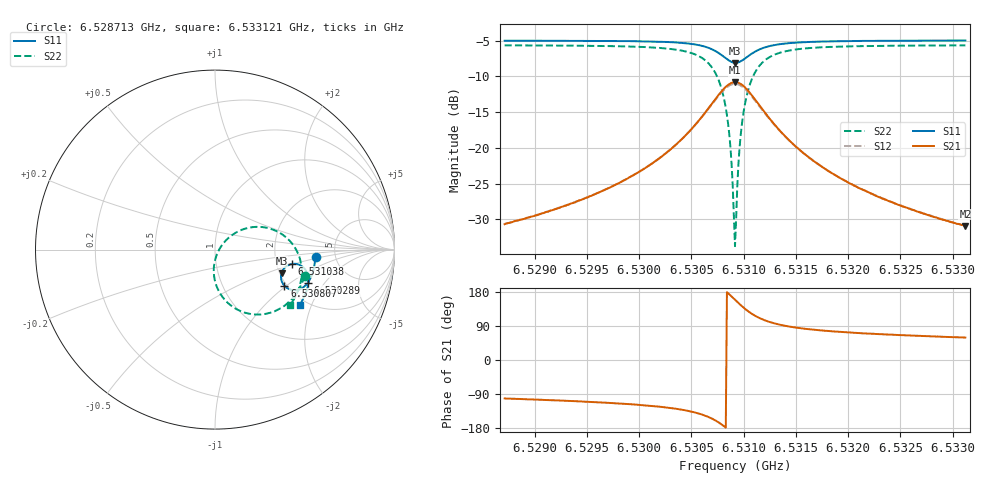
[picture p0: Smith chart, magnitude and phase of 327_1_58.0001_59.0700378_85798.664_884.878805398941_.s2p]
#  HZ  S  RI  R  50.00
! Rohde & Schwarz Vector Network Analyzer
! Rohde-Schwarz,ZNB20-2Port,1311601062101988,3.16
! Created: UTC 3/21/2024, 1:04:56 AM
! freq[Hz]  re:S11  im:S11  re:S21  im:S21  re:S12  im:S12  re:S22  im:S22
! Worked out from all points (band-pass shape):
!   401 points, 6.528713 GHz to 6.533121 GHz, reference 50 ohm
!   highest |S21| = -10.81 dB at 6.530917 GHz (marker M1); lowest = -30.9 dB at 6.533121 GHz (marker M2)
!   |S21| within 3 dB of the highest: 6.530697 GHz to 6.531138 GHz (441.7 kHz wide, 0.00676 % of centre)
!   lowest |S11| = -8.1 dB at 6.530917 GHz (marker M3), VSWR 2.30, Z = 102 - j31.8 ohm
!   |S11| at or under -10 dB: nowhere
!   |S22| runs from -33.8 to -5.7 dB; largest |S21 - S12| = 0.011
!   S11 on the Smith chart (normalised r, x): 6.528713 GHz: 3.50, -0.43; 6.530289 GHz: 2.61, -1.39; 6.530807 GHz: 1.94, -0.96; 6.531038 GHz: 2.43, -0.48; 6.533121 GHz: 1.83, -1.65
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6.5287129e9  0.56 -0.0423  -0.00584 -0.0286  -0.00641 -0.0287  0.5001 -0.1466
6.5294513e9  0.5511 -0.1028  -0.0145 -0.0409  -0.0154 -0.0408  0.4714 -0.2139
6.5301897e9  0.5246 -0.1741  -0.0458 -0.0705  -0.0478 -0.0694  0.395 -0.3067
6.5302889e9  0.5168 -0.1856  -0.0568 -0.0773  -0.0589 -0.0759  0.3721 -0.323
6.5306415e9  0.4541 -0.2252  -0.1528 -0.0957  -0.155 -0.0896  0.1892 -0.3571
6.5307407e9  0.4153 -0.2209  -0.213 -0.0722  -0.2126 -0.0636  0.0863 -0.3095
6.5308068e9  0.3864 -0.201  -0.2557 -0.028  -0.2519 -0.0189  0.0197 -0.2282
6.5308619e9  0.3698 -0.17  -0.2773 0.0319  -0.2697 0.0394  -0.00684 -0.1249
6.530873e9  0.3683 -0.1626  -0.2785 0.0459  -0.2702 0.0527  -0.00659 -0.1018
6.530895e9  0.3676 -0.1471  -0.2767 0.0744  -0.2674 0.0799  0.00122 -0.0548
6.530906e9  0.3687 -0.1392  -0.2736 0.0889  -0.264 0.0934  0.00876 -0.0317
6.530917e9  0.3705 -0.1314  -0.269 0.1028  -0.2593 0.1065  0.0182 -0.0095
6.5309281e9  0.3731 -0.124  -0.2632 0.1162  -0.2533 0.1191  0.03 0.0118
6.5309391e9  0.3766 -0.1168  -0.256 0.129  -0.2463 0.131  0.0439 0.0317
6.5309611e9  0.3855 -0.104  -0.2384 0.1518  -0.2292 0.1522  0.0763 0.0662
6.5309832e9  0.3966 -0.0937  -0.2177 0.1702  -0.2091 0.1693  0.1134 0.093
6.5310383e9  0.4279 -0.0801  -0.1608 0.1953  -0.1549 0.1926  0.2119 0.1254
6.5311154e9  0.4664 -0.0834  -0.0932 0.1935  -0.0901 0.1909  0.3256 0.1104
6.5312256e9  0.4988 -0.1057  -0.036 0.164  -0.0345 0.1626  0.4187 0.0465
6.5316554e9  0.5206 -0.1813  0.0138 0.0812  0.0148 0.081  0.4831 -0.1296
6.5323938e9  0.5005 -0.254  0.0165 0.039  0.0172 0.0387  0.4557 -0.245
6.5331212e9  0.4725 -0.3073  0.0145 0.0244  0.015 0.0241  0.4204 -0.3071
